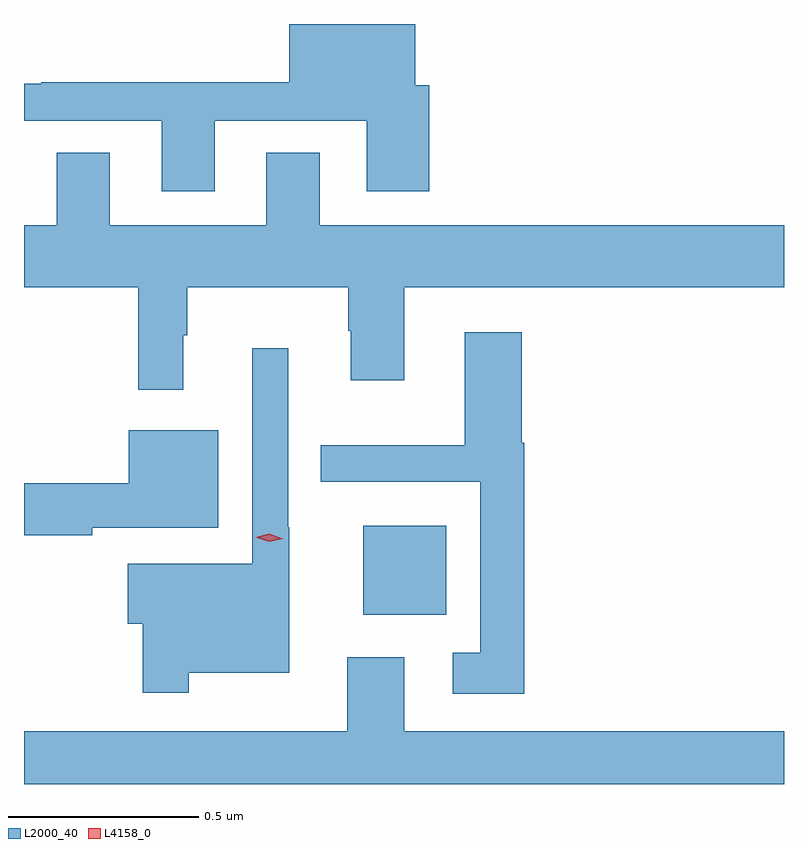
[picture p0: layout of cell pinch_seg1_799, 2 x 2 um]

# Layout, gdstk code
import gdstk
lib = gdstk.Library(unit=1e-6, precision=1e-09)
def R(c, l, rs):  # rectangles x0, y0, x1, y1
    for r in rs: c.add(gdstk.rectangle(r[:2], r[2:], *l))
def P(c, l, *ps):  # polygons
    for p in ps: c.add(gdstk.Polygon(p, *l))
L2000_40 = (2000, 40)
L4158_0 = (4158, 0)

pinch_seg1_799 = lib.new_cell('pinch_seg1_799')
R(pinch_seg1_799, L2000_40, [(516.956,549.539,517.174,549.772)])
P(pinch_seg1_799, L2000_40, [(516.565,550.839),(516.965,550.839),(516.965,550.653),(517.13,550.653),(517.13,550.932),(517.093,550.932),(517.093,551.093),(516.761,551.093),(516.761,550.94),(516.109,550.94),(516.109,550.936),(516.063,550.936),(516.063,550.839),(516.425,550.839),(516.425,550.653),(516.565,550.653)],
  [(516.482,550.274),(516.493,550.274),(516.493,550.4),(516.916,550.4),(516.916,550.286),(516.923,550.286),(516.923,550.155),(517.063,550.155),(517.063,550.4),(518.063,550.4),(518.063,550.564),(516.841,550.564),(516.841,550.754),(516.701,550.754),(516.701,550.564),(516.289,550.564),(516.289,550.754),(516.149,550.754),(516.149,550.564),(516.063,550.564),(516.063,550.4),(516.364,550.4),(516.364,550.131),(516.482,550.131)],
  [(517.379,549.991),(517.373,549.991),(517.373,550.282),(517.223,550.282),(517.223,549.985),(516.844,549.985),(516.844,549.888),(517.263,549.888),(517.263,549.439),(517.191,549.439),(517.191,549.33),(517.379,549.33)],
  [(516.496,549.386),(516.761,549.386),(516.761,549.769),(516.759,549.769),(516.759,550.24),(516.663,550.24),(516.663,549.673),(516.336,549.673),(516.336,549.515),(516.375,549.515),(516.375,549.333),(516.496,549.333)],
  [(516.242,549.768),(516.574,549.768),(516.574,550.024),(516.338,550.024),(516.338,549.884),(516.063,549.884),(516.063,549.748),(516.242,549.748)],
  [(518.063,549.232),(517.063,549.232),(517.063,549.427),(516.914,549.427),(516.914,549.232),(516.063,549.232),(516.063,549.093),(518.063,549.093)])
P(pinch_seg1_799, L4158_0, [(516.708,549.731),(516.673,549.742),(516.673,549.743),(516.673,549.743),(516.709,549.751),(516.744,549.739),(516.745,549.739),(516.744,549.739)])

lib.write_gds('pinch_seg1_799.gds')
